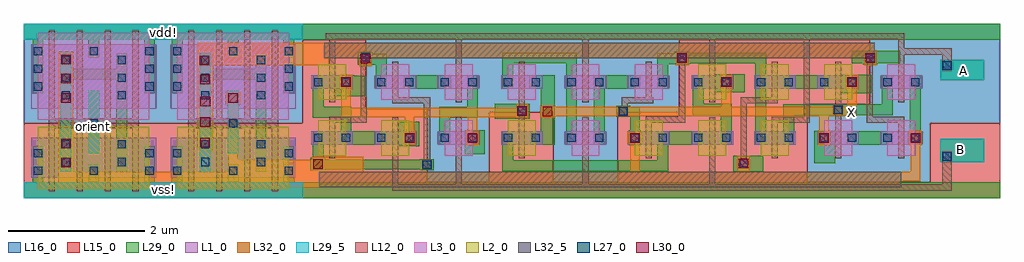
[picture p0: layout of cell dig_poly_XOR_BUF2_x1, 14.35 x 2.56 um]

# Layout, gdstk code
from math import pi, radians
import gdstk
lib = gdstk.Library(unit=1e-6, precision=1e-09)
def R(c, l, rs):  # rectangles x0, y0, x1, y1
    for r in rs: c.add(gdstk.rectangle(r[:2], r[2:], *l))
def A(c, l, x, y, w, h, nx, ny, dx, dy):  # array of equal rectangles
    R(c, l, [(x+i*dx, y+j*dy, x+i*dx+w, y+j*dy+h) for i in range(nx) for j in range(ny)])
L1_0 = (1, 0)
L2_0 = (2, 0)
L3_0 = (3, 0)
L12_0 = (12, 0)
L15_0 = (15, 0)
L16_0 = (16, 0)
L27_0 = (27, 0)
L29_0 = (29, 0)
L29_5 = (29, 5)
L30_0 = (30, 0)
L32_0 = (32, 0)
L32_5 = (32, 5)

nsoim_cdns_580773312510 = lib.new_cell('nsoim_CDNS_580773312510')
R(nsoim_cdns_580773312510, L1_0, [(-0.26,0.2,0,0.4), (0,0.2,0.09,0.4), (0.09,0.2,0.35,0.4)])
R(nsoim_cdns_580773312510, L2_0, [(-0.16,0.04,0.25,0.56)])
R(nsoim_cdns_580773312510, L12_0, [(0,0,0.09,0.09), (0,0.09,0.09,0.2), (0,0.2,0.09,0.4), (0,0.4,0.09,0.51), (0,0.51,0.09,0.6)])
R(nsoim_cdns_580773312510, L15_0, [(-0.32,-0.01,0.41,0.61)])
R(nsoim_cdns_580773312510, L27_0, [(-0.22,0.24,-0.1,0.36), (0.19,0.24,0.31,0.36)])
R(nsoim_cdns_580773312510, L29_0, [(-0.24,0.2,-0.08,0.4), (0.17,0.2,0.33,0.4)])

psoim_cdns_580773312511 = lib.new_cell('psoim_CDNS_580773312511')
R(psoim_cdns_580773312511, L1_0, [(-0.26,0.2,0,0.4), (0,0.2,0.09,0.4), (0.09,0.2,0.35,0.4)])
R(psoim_cdns_580773312511, L3_0, [(-0.16,0.04,0.25,0.56)])
R(psoim_cdns_580773312511, L12_0, [(0,0,0.09,0.09), (0,0.09,0.09,0.2), (0,0.2,0.09,0.4), (0,0.4,0.09,0.51), (0,0.51,0.09,0.6)])
R(psoim_cdns_580773312511, L16_0, [(-0.32,-0.01,0.41,0.61)])
R(psoim_cdns_580773312511, L27_0, [(-0.22,0.24,-0.1,0.36), (0.19,0.24,0.31,0.36)])
R(psoim_cdns_580773312511, L29_0, [(-0.24,0.2,-0.08,0.4), (0.17,0.2,0.33,0.4)])

m1_m2_cdns_580773312510 = lib.new_cell('M1_M2_CDNS_580773312510')
R(m1_m2_cdns_580773312510, L29_0, [(-0.11,-0.09,0.11,0.09)])
R(m1_m2_cdns_580773312510, L30_0, [(-0.07,-0.07,0.07,0.07)])
R(m1_m2_cdns_580773312510, L32_0, [(-0.09,-0.11,0.09,0.11)])

poly_m1_cdns_58077331251 = lib.new_cell('POLY_M1_CDNS_580773312511')
R(poly_m1_cdns_58077331251, L12_0, [(-0.07,-0.07,0.07,0.07)])
R(poly_m1_cdns_58077331251, L27_0, [(-0.06,-0.06,0.06,0.06)])
R(poly_m1_cdns_58077331251, L29_0, [(-0.1,-0.08,0.1,0.08)])

polymorphic_xor_buf2_1x = lib.new_cell('polymorphic_XOR_BUF2_1x')
R(polymorphic_xor_buf2_1x, L12_0, [(1.315,0.11,9.54,0.2), (9.4,0.2,9.54,0.54), (9.4,2.02,9.54,2.11), (8.845,2.11,9.13,2.2), (9.13,2.11,9.54,2.2)])
R(polymorphic_xor_buf2_1x, L15_0, [(0,0,9.225,0.23), (9.225,0,10.17,1.1), (1.245,0.06,3.685,0.23), (3.685,0.06,8.475,0.23), (4.63,0.09,8.47,0.23), (2.75,0.115,3.62,0.275), (1.175,0.13,1.545,0.32), (4.63,0.175,6.475,1.26), (0,0.23,0.925,2.33), (0.905,0.23,1.83,1.31), (2.74,0.23,2.75,0.235), (3.62,0.23,3.685,0.235), (6.475,0.23,7.415,2.33), (2.74,0.235,3.685,1.26), (5.535,1.26,6.48,2.33), (7.415,1.38,8.335,2.33)])
R(polymorphic_xor_buf2_1x, L16_0, [(1.83,0.23,2.74,1.39), (3.685,0.23,4.63,1.26), (7.415,0.23,8.42,1.38), (8.34,0.23,9.225,1.38), (9.225,1.1,10.17,2.56), (4.625,1.2,4.63,1.26), (2.74,1.26,5.535,2.385), (0.925,1.31,1.86,2.33), (1.815,1.345,2.74,1.485), (8.335,1.375,9.225,2.33), (1.83,1.395,2.74,2.33), (2.125,2.29,2.48,2.5), (0,2.33,9.165,2.48), (0,2.33,9.225,2.56)])
R(polymorphic_xor_buf2_1x, L29_0, [(0,0,10.17,0.23), (6.325,0.39,6.77,0.625), (6.33,0.4,6.72,0.615), (7.52,0.515,7.83,0.99), (9.37,0.53,10.015,0.87), (2.38,0.645,2.675,0.995), (7.53,0.66,7.79,0.985), (1.405,0.765,1.71,1.12), (2.82,1.165,3.335,1.385), (0.465,1.5,0.915,1.8), (7.905,1.54,8.355,1.81), (6.065,1.555,6.495,1.82), (0.51,1.56,0.755,1.805), (6.105,1.575,6.38,1.82), (9.37,1.735,10.02,2.03), (8.07,1.985,8.78,2.165), (8.135,1.985,8.67,2.165), (8.225,1.985,8.64,2.165), (0,2.33,10.17,2.56)])
R(polymorphic_xor_buf2_1x, L29_5, [(9.37,0.53,10.015,0.87), (9.37,1.735,10.02,2.03)])
R(polymorphic_xor_buf2_1x, L32_0, [(0.13,0.16,0.885,0.61), (0.24,0.16,7.525,0.39), (7.525,0.16,8.8,0.39), (0.315,2.055,7.6,2.285), (7.6,2.055,8.405,2.285)])
R(polymorphic_xor_buf2_1x, L32_5, [(0.24,0.16,8.8,0.39), (8.005,1.2,8.145,1.34), (0.315,2.055,8.405,2.285)])
polymorphic_xor_buf2_1x.add(gdstk.FlexPath([(8.595,1.705),(8.6,1.705)], 0.16, ends=(0.08, 0), simple_path=True, layer=29, datatype=0))  # L29_0
polymorphic_xor_buf2_1x.add(gdstk.FlexPath([(8.595,1.3),(8.595,1.705)], 0.16, ends="extended", simple_path=True, layer=29, datatype=0))  # L29_0
polymorphic_xor_buf2_1x.add(gdstk.FlexPath([(7.145,1.3),(8.595,1.3)], 0.16, ends="extended", simple_path=True, layer=29, datatype=0))  # L29_0
polymorphic_xor_buf2_1x.add(gdstk.FlexPath([(7.145,0.785),(7.145,1.3)], 0.16, ends=(0, 0.08), simple_path=True, layer=29, datatype=0))  # L29_0
polymorphic_xor_buf2_1x.add(gdstk.FlexPath([(9.005,0.885),(9,0.885)], 0.16, ends=(0.08, 0), simple_path=True, layer=29, datatype=0))  # L29_0
polymorphic_xor_buf2_1x.add(gdstk.FlexPath([(6.735,0.785),(6.735,1.705)], 0.16, ends="flush", simple_path=True, layer=29, datatype=0))  # L29_0
polymorphic_xor_buf2_1x.add(gdstk.FlexPath([(8.675,0.885),(8.075,0.885)], 0.2, ends="flush", simple_path=True, layer=29, datatype=0))  # L29_0
polymorphic_xor_buf2_1x.add(gdstk.FlexPath([(7.065,1.705),(7.665,1.705)], 0.2, ends="flush", simple_path=True, layer=29, datatype=0))  # L29_0
polymorphic_xor_buf2_1x.add(gdstk.FlexPath([(5.575,2.06),(5.575,2.07)], 0.16, ends="flush", simple_path=True, layer=29, datatype=0))  # L29_0
polymorphic_xor_buf2_1x.add(gdstk.FlexPath([(6.735,2.06),(5.575,2.06)], 0.16, ends="extended", simple_path=True, layer=29, datatype=0))  # L29_0
polymorphic_xor_buf2_1x.add(gdstk.FlexPath([(6.735,1.605),(6.735,2.06)], 0.16, ends=(0, 0.08), simple_path=True, layer=29, datatype=0))  # L29_0
polymorphic_xor_buf2_1x.add(gdstk.FlexPath([(5.29,2.05),(5.575,2.05)], 0.16, ends="extended", simple_path=True, layer=29, datatype=0))  # L29_0
polymorphic_xor_buf2_1x.add(gdstk.FlexPath([(4.88,0.885),(4.88,0.85)], 0.14, ends="flush", simple_path=True, layer=29, datatype=0))  # L29_0
polymorphic_xor_buf2_1x.add(gdstk.FlexPath([(4.88,1.275),(4.88,0.885)], 0.14, ends=(0.07, 0), simple_path=True, layer=29, datatype=0))  # L29_0
polymorphic_xor_buf2_1x.add(gdstk.FlexPath([(4.71,1.275),(4.88,1.275)], 0.14, ends=(0, 0.07), simple_path=True, layer=29, datatype=0))  # L29_0
polymorphic_xor_buf2_1x.add(gdstk.FlexPath([(5.815,1.705),(5.82,1.705)], 0.16, ends=(0.08, 0), simple_path=True, layer=29, datatype=0))  # L29_0
polymorphic_xor_buf2_1x.add(gdstk.FlexPath([(5.815,1.305),(5.815,1.705)], 0.16, ends="extended", simple_path=True, layer=29, datatype=0))  # L29_0
polymorphic_xor_buf2_1x.add(gdstk.FlexPath([(6.225,1.305),(5.815,1.305)], 0.16, ends="extended", simple_path=True, layer=29, datatype=0))  # L29_0
polymorphic_xor_buf2_1x.add(gdstk.FlexPath([(6.225,0.785),(6.225,1.305)], 0.16, ends=(0, 0.08), simple_path=True, layer=29, datatype=0))  # L29_0
polymorphic_xor_buf2_1x.add(gdstk.FlexPath([(5.29,0.885),(5.82,0.885)], 0.2, ends=(0.08, 0), simple_path=True, layer=29, datatype=0))  # L29_0
polymorphic_xor_buf2_1x.add(gdstk.FlexPath([(5.21,0.885),(5.29,0.885)], 0.2, ends=(0, 0.08), simple_path=True, layer=29, datatype=0))  # L29_0
polymorphic_xor_buf2_1x.add(gdstk.FlexPath([(5.29,0.885),(5.295,0.885)], 0.16, ends=(0.08, 0), simple_path=True, layer=29, datatype=0))  # L29_0
polymorphic_xor_buf2_1x.add(gdstk.FlexPath([(3.425,1.705),(3.425,1.7)], 0.2, ends=(0.1, 0), simple_path=True, layer=29, datatype=0))  # L29_0
polymorphic_xor_buf2_1x.add(gdstk.FlexPath([(3.6,1.705),(3.425,1.705)], 0.2, ends="extended", simple_path=True, layer=29, datatype=0))  # L29_0
polymorphic_xor_buf2_1x.add(gdstk.FlexPath([(3.6,1.27),(3.6,1.705)], 0.2, ends=(0.11, 0.1), simple_path=True, layer=29, datatype=0))  # L29_0
polymorphic_xor_buf2_1x.add(gdstk.FlexPath([(3.6,0.885),(3.6,1.27)], 0.2, ends=(0.1, 0.11), simple_path=True, layer=29, datatype=0))  # L29_0
polymorphic_xor_buf2_1x.add(gdstk.FlexPath([(3.345,0.885),(3.6,0.885)], 0.2, ends=(0, 0.1), simple_path=True, layer=29, datatype=0))  # L29_0
polymorphic_xor_buf2_1x.add(gdstk.FlexPath([(1.155,1.605),(1.155,2.04)], 0.16, ends=(0, 0.08), simple_path=True, layer=29, datatype=0))  # L29_0
polymorphic_xor_buf2_1x.add(gdstk.FlexPath([(0.9,2.04),(0.9,2.035)], 0.16, ends=(0.08, 0), simple_path=True, layer=29, datatype=0))  # L29_0
polymorphic_xor_buf2_1x.add(gdstk.FlexPath([(3.015,0.985),(3.015,0.475)], 0.16, ends=(0, 0.08), simple_path=True, layer=29, datatype=0))  # L29_0
polymorphic_xor_buf2_1x.add(gdstk.FlexPath([(5.29,0.475),(5.29,0.885)], 0.16, ends=(0.08, 0.1), simple_path=True, layer=29, datatype=0))  # L29_0
polymorphic_xor_buf2_1x.add(gdstk.FlexPath([(3.015,0.475),(5.29,0.475)], 0.16, ends="extended", simple_path=True, layer=29, datatype=0))  # L29_0
polymorphic_xor_buf2_1x.add(gdstk.FlexPath([(3.95,2.06),(3.015,2.06)], 0.16, ends="extended", simple_path=True, layer=29, datatype=0))  # L29_0
polymorphic_xor_buf2_1x.add(gdstk.FlexPath([(4.36,1.705),(4.88,1.705)], 0.2, ends=(0.08, 0), simple_path=True, layer=29, datatype=0))  # L29_0
polymorphic_xor_buf2_1x.add(gdstk.FlexPath([(4.36,1.805),(4.36,1.705)], 0.16, ends=(0, 0.1), simple_path=True, layer=29, datatype=0))  # L29_0
polymorphic_xor_buf2_1x.add(gdstk.FlexPath([(4.36,1.705),(4.36,0.885)], 0.16, ends=(0.1, 0), simple_path=True, layer=29, datatype=0))  # L29_0
polymorphic_xor_buf2_1x.add(gdstk.FlexPath([(3.95,0.785),(3.95,2.06)], 0.16, ends=(0, 0.08), simple_path=True, layer=29, datatype=0))  # L29_0
polymorphic_xor_buf2_1x.add(gdstk.FlexPath([(3.015,2.06),(3.015,1.68)], 0.16, ends=(0.08, 0), simple_path=True, layer=29, datatype=0))  # L29_0
polymorphic_xor_buf2_1x.add(gdstk.FlexPath([(4.28,1.705),(4.36,1.705)], 0.2, ends=(0, 0.08), simple_path=True, layer=29, datatype=0))  # L29_0
polymorphic_xor_buf2_1x.add(gdstk.FlexPath([(5.29,1.605),(5.29,2.05)], 0.16, ends=(0, 0.08), simple_path=True, layer=29, datatype=0))  # L29_0
polymorphic_xor_buf2_1x.add(gdstk.FlexPath([(5.575,2.05),(5.575,2.06)], 0.16, ends="extended", simple_path=True, layer=29, datatype=0))  # L29_0
polymorphic_xor_buf2_1x.add(gdstk.FlexPath([(0.22,0.49),(0.22,0.495)], 0.14, ends=(0.07, 0), simple_path=True, layer=29, datatype=0))  # L29_0
polymorphic_xor_buf2_1x.add(gdstk.FlexPath([(0.225,0.49),(0.22,0.49)], 0.14, ends=(0.08, 0.07), simple_path=True, layer=29, datatype=0))  # L29_0
polymorphic_xor_buf2_1x.add(gdstk.FlexPath([(1.825,0.49),(0.225,0.49)], 0.14, ends=(0, 0.08), simple_path=True, layer=29, datatype=0))  # L29_0
polymorphic_xor_buf2_1x.add(gdstk.FlexPath([(2.085,1.26),(2.085,0.88)], 0.16, ends=(0.08, 0), simple_path=True, layer=29, datatype=0))  # L29_0
polymorphic_xor_buf2_1x.add(gdstk.FlexPath([(2.495,1.26),(2.085,1.26)], 0.16, ends="extended", simple_path=True, layer=29, datatype=0))  # L29_0
polymorphic_xor_buf2_1x.add(gdstk.FlexPath([(2.495,1.805),(2.495,1.26)], 0.16, ends=(0, 0.08), simple_path=True, layer=29, datatype=0))  # L29_0
polymorphic_xor_buf2_1x.add(gdstk.FlexPath([(2.085,1.705),(2.085,1.685)], 0.2, ends=(0.1, 0), simple_path=True, layer=29, datatype=0))  # L29_0
polymorphic_xor_buf2_1x.add(gdstk.FlexPath([(1.485,1.705),(2.085,1.705)], 0.2, ends=(0, 0.1), simple_path=True, layer=29, datatype=0))  # L29_0
polymorphic_xor_buf2_1x.add(gdstk.FlexPath([(1.155,2.04),(0.9,2.04)], 0.16, ends="extended", simple_path=True, layer=29, datatype=0))  # L29_0
polymorphic_xor_buf2_1x.add(gdstk.FlexPath([(9.005,1.805),(9.005,0.885)], 0.16, ends=(0, 0.08), simple_path=True, layer=29, datatype=0))  # L29_0
polymorphic_xor_buf2_1x.add(gdstk.FlexPath([(0.635,0.885),(1.155,0.885)], 0.2, ends=(0.08, 0), simple_path=True, layer=29, datatype=0))  # L29_0
polymorphic_xor_buf2_1x.add(gdstk.FlexPath([(0.635,0.785),(0.635,0.885)], 0.16, ends=(0, 0.1), simple_path=True, layer=29, datatype=0))  # L29_0
polymorphic_xor_buf2_1x.add(gdstk.FlexPath([(0.555,0.885),(0.635,0.885)], 0.2, ends=(0, 0.08), simple_path=True, layer=29, datatype=0))  # L29_0
polymorphic_xor_buf2_1x.add(gdstk.FlexPath([(0.635,0.885),(0.635,1.26)], 0.16, ends=(0.1, 0.08), simple_path=True, layer=29, datatype=0))  # L29_0
polymorphic_xor_buf2_1x.add(gdstk.FlexPath([(0.635,1.26),(0.225,1.26)], 0.16, ends="extended", simple_path=True, layer=29, datatype=0))  # L29_0
polymorphic_xor_buf2_1x.add(gdstk.FlexPath([(0.225,1.26),(0.225,1.705)], 0.16, ends=(0.08, 0), simple_path=True, layer=29, datatype=0))  # L29_0
polymorphic_xor_buf2_1x.add(gdstk.FlexPath([(0.225,0.49),(0.235,0.49)], 0.16, ends=(0.08, 0), simple_path=True, layer=29, datatype=0))  # L29_0
polymorphic_xor_buf2_1x.add(gdstk.FlexPath([(0.225,0.985),(0.225,0.49)], 0.16, ends=(0, 0.07), simple_path=True, layer=29, datatype=0))  # L29_0
polymorphic_xor_buf2_1x.add(gdstk.FlexPath([(6.985,1.44),(6.48,1.44)], 0.09, ends=(0, 0.045), simple_path=True, layer=12, datatype=0))  # L12_0
polymorphic_xor_buf2_1x.add(gdstk.FlexPath([(8.335,2.075),(8.355,2.075)], 0.09, ends=(0.045, 0), simple_path=True, layer=12, datatype=0))  # L12_0
polymorphic_xor_buf2_1x.add(gdstk.FlexPath([(8.335,1.15),(8.335,2.075)], 0.09, ends="extended", simple_path=True, layer=12, datatype=0))  # L12_0
polymorphic_xor_buf2_1x.add(gdstk.FlexPath([(8.845,1.15),(8.335,1.15)], 0.09, ends=(0, 0.045), simple_path=True, layer=12, datatype=0))  # L12_0
polymorphic_xor_buf2_1x.add(gdstk.FlexPath([(6.48,1.44),(6.48,0.51)], 0.09, ends=(0.045, 0), simple_path=True, layer=12, datatype=0))  # L12_0
polymorphic_xor_buf2_1x.add(gdstk.FlexPath([(6.48,0.51),(6.47,0.51)], 0.09, ends="flush", simple_path=True, layer=12, datatype=0))  # L12_0
polymorphic_xor_buf2_1x.add(gdstk.FlexPath([(7.41,1.15),(7.41,2.075)], 0.09, ends=(0.045, 0), simple_path=True, layer=12, datatype=0))  # L12_0
polymorphic_xor_buf2_1x.add(gdstk.FlexPath([(6.895,1.15),(7.41,1.15)], 0.09, ends=(0, 0.045), simple_path=True, layer=12, datatype=0))  # L12_0
polymorphic_xor_buf2_1x.add(gdstk.FlexPath([(7.41,2.38),(0.385,2.38)], 0.09, ends="extended", simple_path=True, layer=12, datatype=0))  # L12_0
polymorphic_xor_buf2_1x.add(gdstk.FlexPath([(0.385,2.38),(0.385,2.365)], 0.09, ends=(0.045, 0), simple_path=True, layer=12, datatype=0))  # L12_0
polymorphic_xor_buf2_1x.add(gdstk.FlexPath([(8.8,2.38),(7.41,2.38)], 0.09, ends="extended", simple_path=True, layer=12, datatype=0))  # L12_0
polymorphic_xor_buf2_1x.add(gdstk.FlexPath([(8.8,1.915),(8.8,2.38)], 0.09, ends=(0, 0.045), simple_path=True, layer=12, datatype=0))  # L12_0
polymorphic_xor_buf2_1x.add(gdstk.FlexPath([(7.87,1.095),(7.87,1.3)], 0.09, ends="flush", simple_path=True, layer=12, datatype=0))  # L12_0
polymorphic_xor_buf2_1x.add(gdstk.FlexPath([(7.87,1.3),(7.87,1.495)], 0.09, ends="flush", simple_path=True, layer=12, datatype=0))  # L12_0
polymorphic_xor_buf2_1x.add(gdstk.FlexPath([(4.155,0.155),(4.155,0.15)], 0.09, ends=(0.045, 0), simple_path=True, layer=12, datatype=0))  # L12_0
polymorphic_xor_buf2_1x.add(gdstk.FlexPath([(6.02,0.155),(6.02,0.15)], 0.09, ends=(0.045, 0), simple_path=True, layer=12, datatype=0))  # L12_0
polymorphic_xor_buf2_1x.add(gdstk.FlexPath([(7.41,2.38),(7.41,2.075)], 0.09, ends=(0.045, 0), simple_path=True, layer=12, datatype=0))  # L12_0
polymorphic_xor_buf2_1x.add(gdstk.FlexPath([(6.02,0.675),(6.02,0.155)], 0.09, ends=(0, 0.045), simple_path=True, layer=12, datatype=0))  # L12_0
polymorphic_xor_buf2_1x.add(gdstk.FlexPath([(6.02,2.355),(5.975,2.355)], 0.09, ends=(0.045, 0), simple_path=True, layer=12, datatype=0))  # L12_0
polymorphic_xor_buf2_1x.add(gdstk.FlexPath([(6.02,1.915),(6.02,2.355)], 0.09, ends=(0, 0.045), simple_path=True, layer=12, datatype=0))  # L12_0
polymorphic_xor_buf2_1x.add(gdstk.FlexPath([(5.575,1.155),(5.575,2.035)], 0.09, ends=(0.045, 0), simple_path=True, layer=12, datatype=0))  # L12_0
polymorphic_xor_buf2_1x.add(gdstk.FlexPath([(5.04,1.155),(5.575,1.155)], 0.09, ends=(0, 0.045), simple_path=True, layer=12, datatype=0))  # L12_0
polymorphic_xor_buf2_1x.add(gdstk.FlexPath([(5.155,1.44),(4.735,1.44)], 0.09, ends=(0, 0.045), simple_path=True, layer=12, datatype=0))  # L12_0
polymorphic_xor_buf2_1x.add(gdstk.FlexPath([(4.735,1.44),(4.735,1.265)], 0.09, ends="extended", simple_path=True, layer=12, datatype=0))  # L12_0
polymorphic_xor_buf2_1x.add(gdstk.FlexPath([(4.735,1.265),(4.75,1.265)], 0.09, ends=(0.045, 0), simple_path=True, layer=12, datatype=0))  # L12_0
polymorphic_xor_buf2_1x.add(gdstk.FlexPath([(0.895,2.07),(0.925,2.07)], 0.09, ends=(0.045, 0), simple_path=True, layer=12, datatype=0))  # L12_0
polymorphic_xor_buf2_1x.add(gdstk.FlexPath([(4.155,2.34),(4.165,2.34)], 0.09, ends=(0.045, 0), simple_path=True, layer=12, datatype=0))  # L12_0
polymorphic_xor_buf2_1x.add(gdstk.FlexPath([(4.155,0.675),(4.155,0.155)], 0.09, ends=(0, 0.045), simple_path=True, layer=12, datatype=0))  # L12_0
polymorphic_xor_buf2_1x.add(gdstk.FlexPath([(4.155,1.915),(4.155,2.34)], 0.09, ends=(0, 0.045), simple_path=True, layer=12, datatype=0))  # L12_0
polymorphic_xor_buf2_1x.add(gdstk.FlexPath([(3.22,1.495),(3.22,1.28)], 0.09, ends="flush", simple_path=True, layer=12, datatype=0))  # L12_0
polymorphic_xor_buf2_1x.add(gdstk.FlexPath([(3.225,1.28),(3.23,1.28)], 0.09, ends="flush", simple_path=True, layer=12, datatype=0))  # L12_0
polymorphic_xor_buf2_1x.add(gdstk.FlexPath([(3.22,1.28),(3.225,1.28)], 0.09, ends=(0.045, 0), simple_path=True, layer=12, datatype=0))  # L12_0
polymorphic_xor_buf2_1x.add(gdstk.FlexPath([(3.22,1.095),(3.22,1.28)], 0.09, ends=(0, 0.045), simple_path=True, layer=12, datatype=0))  # L12_0
polymorphic_xor_buf2_1x.add(gdstk.FlexPath([(1.825,1.44),(1.825,0.49)], 0.09, ends=(0.045, 0), simple_path=True, layer=12, datatype=0))  # L12_0
polymorphic_xor_buf2_1x.add(gdstk.FlexPath([(1.315,1.44),(1.825,1.44)], 0.09, ends=(0, 0.045), simple_path=True, layer=12, datatype=0))  # L12_0
polymorphic_xor_buf2_1x.add(gdstk.FlexPath([(2.29,0.675),(2.29,0.155)], 0.09, ends=(0, 0.045), simple_path=True, layer=12, datatype=0))  # L12_0
polymorphic_xor_buf2_1x.add(gdstk.FlexPath([(2.29,2.335),(2.325,2.335)], 0.09, ends=(0.045, 0), simple_path=True, layer=12, datatype=0))  # L12_0
polymorphic_xor_buf2_1x.add(gdstk.FlexPath([(2.29,1.915),(2.29,2.335)], 0.09, ends=(0, 0.045), simple_path=True, layer=12, datatype=0))  # L12_0
polymorphic_xor_buf2_1x.add(gdstk.FlexPath([(0.895,1.15),(0.895,2.07)], 0.09, ends="extended", simple_path=True, layer=12, datatype=0))  # L12_0
polymorphic_xor_buf2_1x.add(gdstk.FlexPath([(0.385,1.15),(0.895,1.15)], 0.09, ends=(0, 0.045), simple_path=True, layer=12, datatype=0))  # L12_0
polymorphic_xor_buf2_1x.add(gdstk.FlexPath([(1.825,0.49),(1.83,0.49)], 0.09, ends="flush", simple_path=True, layer=12, datatype=0))  # L12_0
polymorphic_xor_buf2_1x.add(gdstk.FlexPath([(1.36,0.675),(1.36,0.155)], 0.09, ends=(0, 0.045), simple_path=True, layer=12, datatype=0))  # L12_0
polymorphic_xor_buf2_1x.add(gdstk.FlexPath([(0.43,2.31),(0.42,2.31)], 0.09, ends=(0.045, 0), simple_path=True, layer=12, datatype=0))  # L12_0
polymorphic_xor_buf2_1x.add(gdstk.FlexPath([(0.43,1.915),(0.43,2.31)], 0.09, ends=(0, 0.045), simple_path=True, layer=12, datatype=0))  # L12_0
polymorphic_xor_buf2_1x.add(gdstk.FlexPath([(6.48,0.51),(6.48,0.315)], 0.14, ends=(0, 0.07), simple_path=True, layer=32, datatype=0))  # L32_0
polymorphic_xor_buf2_1x.add(gdstk.FlexPath([(8.075,1.27),(7.665,1.27)], 0.14, ends=(0.07, 0), simple_path=True, layer=32, datatype=0))  # L32_0
polymorphic_xor_buf2_1x.add(gdstk.FlexPath([(8.075,1.705),(8.075,1.27)], 0.14, ends=(0, 0.07), simple_path=True, layer=32, datatype=0))  # L32_0
polymorphic_xor_buf2_1x.add(gdstk.FlexPath([(6.185,1.27),(6.225,1.27)], 0.14, ends="extended", simple_path=True, layer=32, datatype=0))  # L32_0
polymorphic_xor_buf2_1x.add(gdstk.FlexPath([(7.665,1.27),(6.225,1.27)], 0.14, ends="extended", simple_path=True, layer=32, datatype=0))  # L32_0
polymorphic_xor_buf2_1x.add(gdstk.FlexPath([(6.185,1.27),(6.185,1.26)], 0.14, ends=(0.07, 0), simple_path=True, layer=32, datatype=0))  # L32_0
polymorphic_xor_buf2_1x.add(gdstk.FlexPath([(7.665,0.885),(7.665,1.27)], 0.14, ends=(0, 0.07), simple_path=True, layer=32, datatype=0))  # L32_0
polymorphic_xor_buf2_1x.add(gdstk.FlexPath([(6.48,0.315),(6.465,0.315)], 0.14, ends=(0.07, 0), simple_path=True, layer=32, datatype=0))  # L32_0
polymorphic_xor_buf2_1x.add(gdstk.FlexPath([(9.005,0.885),(9.005,0.32)], 0.14, ends=(0, 0.07), simple_path=True, layer=32, datatype=0))  # L32_0
polymorphic_xor_buf2_1x.add(gdstk.FlexPath([(9.005,0.32),(8.8,0.32)], 0.14, ends="extended", simple_path=True, layer=32, datatype=0))  # L32_0
polymorphic_xor_buf2_1x.add(gdstk.FlexPath([(8.8,0.32),(8.8,0.325)], 0.14, ends=(0.07, 0), simple_path=True, layer=32, datatype=0))  # L32_0
polymorphic_xor_buf2_1x.add(gdstk.FlexPath([(5.325,1.27),(6.185,1.27)], 0.14, ends="extended", simple_path=True, layer=32, datatype=0))  # L32_0
polymorphic_xor_buf2_1x.add(gdstk.FlexPath([(5.185,1.27),(5.255,1.27)], 0.14, ends="extended", simple_path=True, layer=32, datatype=0))  # L32_0
polymorphic_xor_buf2_1x.add(gdstk.FlexPath([(5.185,1.27),(5.185,1.275)], 0.14, ends=(0.07, 0), simple_path=True, layer=32, datatype=0))  # L32_0
polymorphic_xor_buf2_1x.add(gdstk.FlexPath([(5.255,1.27),(5.325,1.27)], 0.14, ends="extended", simple_path=True, layer=32, datatype=0))  # L32_0
polymorphic_xor_buf2_1x.add(gdstk.FlexPath([(5.255,1.27),(5.255,1.28)], 0.14, ends=(0.07, 0), simple_path=True, layer=32, datatype=0))  # L32_0
polymorphic_xor_buf2_1x.add(gdstk.FlexPath([(4.88,0.885),(4.88,0.145)], 0.14, ends="flush", simple_path=True, layer=32, datatype=0))  # L32_0
polymorphic_xor_buf2_1x.add(gdstk.FlexPath([(5.325,1.27),(5.325,1.235)], 0.14, ends=(0.07, 0), simple_path=True, layer=32, datatype=0))  # L32_0
polymorphic_xor_buf2_1x.add(gdstk.FlexPath([(3.6,1.27),(5.185,1.27)], 0.14, ends=(0, 0.07), simple_path=True, layer=32, datatype=0))  # L32_0
polymorphic_xor_buf2_1x.add(gdstk.FlexPath([(6.225,1.705),(6.225,1.27)], 0.14, ends=(0, 0.07), simple_path=True, layer=32, datatype=0))  # L32_0
polymorphic_xor_buf2_1x.add(gdstk.FlexPath([(3.225,1.26),(2.495,1.26)], 0.14, ends="extended", simple_path=True, layer=32, datatype=0))  # L32_0
polymorphic_xor_buf2_1x.add(gdstk.FlexPath([(2.495,0.885),(2.495,1.26)], 0.14, ends=(0, 0.07), simple_path=True, layer=32, datatype=0))  # L32_0
polymorphic_xor_buf2_1x.add(gdstk.FlexPath([(1.565,1.26),(2.495,1.26)], 0.14, ends="extended", simple_path=True, layer=32, datatype=0))  # L32_0
polymorphic_xor_buf2_1x.add(gdstk.FlexPath([(1.565,0.885),(1.565,1.26)], 0.14, ends=(0, 0.07), simple_path=True, layer=32, datatype=0))  # L32_0
polymorphic_xor_buf2_1x.add(gdstk.FlexPath([(0.635,1.26),(1.565,1.26)], 0.14, ends="extended", simple_path=True, layer=32, datatype=0))  # L32_0
polymorphic_xor_buf2_1x.add(gdstk.FlexPath([(3.225,1.28),(3.225,1.26)], 0.14, ends=(0, 0.07), simple_path=True, layer=32, datatype=0))  # L32_0
polymorphic_xor_buf2_1x.add(gdstk.FlexPath([(0.635,1.705),(0.635,1.26)], 0.14, ends=(0, 0.07), simple_path=True, layer=32, datatype=0))  # L32_0
polymorphic_xor_buf2_1x.add(gdstk.Reference(nsoim_cdns_580773312510, (6.895,1.405)))
polymorphic_xor_buf2_1x.add(gdstk.Reference(nsoim_cdns_580773312510, (6.895,0.585)))
polymorphic_xor_buf2_1x.add(gdstk.Reference(nsoim_cdns_580773312510, (7.825,1.405)))
polymorphic_xor_buf2_1x.add(gdstk.Reference(nsoim_cdns_580773312510, (5.975,1.405)))
polymorphic_xor_buf2_1x.add(gdstk.Reference(nsoim_cdns_580773312510, (5.975,0.585)))
polymorphic_xor_buf2_1x.add(gdstk.Reference(nsoim_cdns_580773312510, (5.04,0.585)))
polymorphic_xor_buf2_1x.add(gdstk.Reference(nsoim_cdns_580773312510, (3.175,0.585)))
polymorphic_xor_buf2_1x.add(gdstk.Reference(nsoim_cdns_580773312510, (0.385,0.585)))
polymorphic_xor_buf2_1x.add(gdstk.Reference(nsoim_cdns_580773312510, (1.315,0.585)))
polymorphic_xor_buf2_1x.add(gdstk.Reference(nsoim_cdns_580773312510, (0.385,1.405)))
polymorphic_xor_buf2_1x.add(gdstk.Reference(psoim_cdns_580773312511, (7.825,0.585)))
polymorphic_xor_buf2_1x.add(gdstk.Reference(psoim_cdns_580773312511, (8.755,0.585)))
polymorphic_xor_buf2_1x.add(gdstk.Reference(psoim_cdns_580773312511, (8.755,1.405)))
polymorphic_xor_buf2_1x.add(gdstk.Reference(psoim_cdns_580773312511, (4.11,1.405)))
polymorphic_xor_buf2_1x.add(gdstk.Reference(psoim_cdns_580773312511, (4.11,0.585)))
polymorphic_xor_buf2_1x.add(gdstk.Reference(psoim_cdns_580773312511, (5.04,1.405)))
polymorphic_xor_buf2_1x.add(gdstk.Reference(psoim_cdns_580773312511, (3.265,1.405), rotation=pi, x_reflection=True))
polymorphic_xor_buf2_1x.add(gdstk.Reference(psoim_cdns_580773312511, (2.335,1.405), rotation=pi, x_reflection=True))
polymorphic_xor_buf2_1x.add(gdstk.Reference(psoim_cdns_580773312511, (2.245,0.585)))
polymorphic_xor_buf2_1x.add(gdstk.Reference(psoim_cdns_580773312511, (1.405,1.405), rotation=pi, x_reflection=True))
polymorphic_xor_buf2_1x.add(gdstk.Reference(m1_m2_cdns_580773312510, (8.345,2.06)))
polymorphic_xor_buf2_1x.add(gdstk.Reference(m1_m2_cdns_580773312510, (6.48,0.51)))
polymorphic_xor_buf2_1x.add(gdstk.Reference(m1_m2_cdns_580773312510, (8.075,1.705)))
polymorphic_xor_buf2_1x.add(gdstk.Reference(m1_m2_cdns_580773312510, (7.665,0.885)))
polymorphic_xor_buf2_1x.add(gdstk.Reference(m1_m2_cdns_580773312510, (9.005,0.885)))
polymorphic_xor_buf2_1x.add(gdstk.Reference(m1_m2_cdns_580773312510, (6.225,1.705)))
polymorphic_xor_buf2_1x.add(gdstk.Reference(m1_m2_cdns_580773312510, (4.88,0.885), rotation=pi/2))
polymorphic_xor_buf2_1x.add(gdstk.Reference(m1_m2_cdns_580773312510, (3.6,1.27), rotation=pi/2))
polymorphic_xor_buf2_1x.add(gdstk.Reference(m1_m2_cdns_580773312510, (5.575,2.06)))
polymorphic_xor_buf2_1x.add(gdstk.Reference(m1_m2_cdns_580773312510, (3.225,1.28)))
polymorphic_xor_buf2_1x.add(gdstk.Reference(m1_m2_cdns_580773312510, (2.495,0.885)))
polymorphic_xor_buf2_1x.add(gdstk.Reference(m1_m2_cdns_580773312510, (0.92,2.05)))
polymorphic_xor_buf2_1x.add(gdstk.Reference(m1_m2_cdns_580773312510, (1.565,0.885)))
polymorphic_xor_buf2_1x.add(gdstk.Reference(m1_m2_cdns_580773312510, (0.22,0.5)))
polymorphic_xor_buf2_1x.add(gdstk.Reference(m1_m2_cdns_580773312510, (0.635,1.705)))
polymorphic_xor_buf2_1x.add(gdstk.Reference(poly_m1_cdns_58077331251, (8.345,2.06)))
polymorphic_xor_buf2_1x.add(gdstk.Reference(poly_m1_cdns_58077331251, (6.48,0.51)))
polymorphic_xor_buf2_1x.add(gdstk.Reference(poly_m1_cdns_58077331251, (7.87,1.3)))
polymorphic_xor_buf2_1x.add(gdstk.Reference(poly_m1_cdns_58077331251, (9.47,1.95)))
polymorphic_xor_buf2_1x.add(gdstk.Reference(poly_m1_cdns_58077331251, (9.47,0.61)))
polymorphic_xor_buf2_1x.add(gdstk.Reference(poly_m1_cdns_58077331251, (5.575,2.06)))
polymorphic_xor_buf2_1x.add(gdstk.Reference(poly_m1_cdns_58077331251, (4.71,1.275)))
polymorphic_xor_buf2_1x.add(gdstk.Reference(poly_m1_cdns_58077331251, (3.225,1.28)))
polymorphic_xor_buf2_1x.add(gdstk.Reference(poly_m1_cdns_58077331251, (1.825,0.49)))
polymorphic_xor_buf2_1x.add(gdstk.Reference(poly_m1_cdns_58077331251, (0.92,2.07)))
polymorphic_xor_buf2_1x.add(gdstk.Label('Vx', (5.745,2.185), layer=32, texttype=6))
polymorphic_xor_buf2_1x.add(gdstk.Label('X', (7.95,1.275), layer=32, texttype=6))
polymorphic_xor_buf2_1x.add(gdstk.Label('Vy', (4.295,0.26), layer=32, texttype=6))
polymorphic_xor_buf2_1x.add(gdstk.Label('A', (9.705,1.875), layer=29, texttype=6))
polymorphic_xor_buf2_1x.add(gdstk.Label('B', (9.69,0.72), layer=29, texttype=6))

nsoim_cdns_580773312512 = lib.new_cell('nsoim_CDNS_580773312512')
R(nsoim_cdns_580773312512, L1_0, [(-0.095,0.2,0,0.79), (0,0.2,0.09,0.79), (0.09,0.2,0.185,0.79)])
R(nsoim_cdns_580773312512, L2_0, [(-0.16,0.04,0.25,0.95)])
R(nsoim_cdns_580773312512, L12_0, [(0,0,0.09,0.09), (0,0.09,0.09,0.2), (0,0.2,0.09,0.79), (0,0.79,0.09,0.9), (0,0.9,0.09,0.99)])
R(nsoim_cdns_580773312512, L15_0, [(-0.155,-0.01,0.245,1)])

stdcell_template_cdns_58 = lib.new_cell('stdcell_template_CDNS_580773312513')
R(stdcell_template_cdns_58, L15_0, [(0,0,2.05,1.1)])
R(stdcell_template_cdns_58, L16_0, [(0,1.1,2.05,2.56)])
R(stdcell_template_cdns_58, L29_0, [(0,0,2.05,0.23), (0,2.33,2.05,2.56)])
R(stdcell_template_cdns_58, L29_5, [(0,0,2.05,0.23), (0,2.33,2.05,2.56)])
stdcell_template_cdns_58.add(gdstk.Label('vss!', (1.025,0.115), layer=29, texttype=5))
stdcell_template_cdns_58.add(gdstk.Label('vdd!', (1.025,2.445), layer=29, texttype=5))

psoim_cdns_580773312514 = lib.new_cell('psoim_CDNS_580773312514')
R(psoim_cdns_580773312514, L1_0, [(-0.095,0.2,0,1.15), (0,0.2,0.09,1.15), (0.09,0.2,0.185,1.15)])
R(psoim_cdns_580773312514, L3_0, [(-0.16,0.04,0.25,1.31)])
R(psoim_cdns_580773312514, L12_0, [(0,0,0.09,0.09), (0,0.09,0.09,0.2), (0,0.2,0.09,1.15), (0,1.15,0.09,1.26), (0,1.26,0.09,1.35)])
R(psoim_cdns_580773312514, L16_0, [(-0.155,-0.01,0.245,1.36)])

c_poly_m1_cdns_58077331251 = lib.new_cell('POLY_M1_CDNS_580773312512')
R(c_poly_m1_cdns_58077331251, L12_0, [(-0.07,-0.07,0.07,0.07)])
R(c_poly_m1_cdns_58077331251, L27_0, [(-0.06,-0.06,0.06,0.06)])
R(c_poly_m1_cdns_58077331251, L29_0, [(-0.08,-0.1,0.08,0.1)])

act_m1_cdns_580773312513 = lib.new_cell('ACT_M1_CDNS_580773312513')
R(act_m1_cdns_580773312513, L1_0, [(-0.1,-0.1,0.1,0.1)])
R(act_m1_cdns_580773312513, L27_0, [(-0.06,-0.06,0.06,0.06)])
R(act_m1_cdns_580773312513, L29_0, [(-0.08,-0.1,0.08,0.1)])

act_m1_cdns_580773312514 = lib.new_cell('ACT_M1_CDNS_580773312514')
R(act_m1_cdns_580773312514, L1_0, [(-0.1,-0.23,0.1,0.23)])
R(act_m1_cdns_580773312514, L27_0, [(-0.06,-0.19,0.06,-0.07), (-0.06,0.07,0.06,0.19)])
R(act_m1_cdns_580773312514, L29_0, [(-0.08,-0.23,0.08,0.23)])

act_m1_cdns_580773312515 = lib.new_cell('ACT_M1_CDNS_580773312515')
R(act_m1_cdns_580773312515, L1_0, [(-0.1,-0.36,0.1,0.36)])
A(act_m1_cdns_580773312515, L27_0, -0.06, -0.32, 0.12, 0.12, 1, 3, 0, 0.26)
R(act_m1_cdns_580773312515, L29_0, [(-0.08,-0.36,0.08,0.36)])

inv_4x = lib.new_cell('inv_4x')
R(inv_4x, L1_0, [(0.105,0.3,1.945,0.89), (0.105,1.31,1.945,2.26)])
R(inv_4x, L12_0, [(0.365,0.1,0.455,2.46), (0.775,0.1,0.865,2.46), (0.365,1.03,1.685,1.17)])
A(inv_4x, L29_0, 0.125, 0.23, 0.16, 0.27, 3, 2, 0.82, 1.83)
R(inv_4x, L29_0, [(0.535,1.74,1.515,1.9)])
R(inv_4x, L29_5, [(0,0,2.05,0.23), (0.535,0.39,0.695,2.13), (0.945,0.66,1.105,1.58), (0,2.33,2.05,2.56)])
inv_4x.add(gdstk.FlexPath([(1.435,2.13),(1.435,0.39)], 0.16, ends="flush", simple_path=True, layer=29, datatype=0))  # L29_0
inv_4x.add(gdstk.FlexPath([(1.025,1.58),(1.025,0.66)], 0.16, ends="flush", simple_path=True, layer=29, datatype=0))  # L29_0
inv_4x.add(gdstk.FlexPath([(0.615,2.13),(0.615,0.39)], 0.16, ends="flush", simple_path=True, layer=29, datatype=0))  # L29_0
inv_4x.add(gdstk.Reference(nsoim_cdns_580773312512, (1.595,0.1)))
inv_4x.add(gdstk.Reference(nsoim_cdns_580773312512, (1.185,0.1)))
inv_4x.add(gdstk.Reference(nsoim_cdns_580773312512, (0.775,0.1)))
inv_4x.add(gdstk.Reference(nsoim_cdns_580773312512, (0.365,0.1)))
inv_4x.add(gdstk.Reference(stdcell_template_cdns_58, (0,0)))
inv_4x.add(gdstk.Reference(psoim_cdns_580773312514, (1.595,1.11)))
inv_4x.add(gdstk.Reference(psoim_cdns_580773312514, (1.185,1.11)))
inv_4x.add(gdstk.Reference(psoim_cdns_580773312514, (0.775,1.11)))
inv_4x.add(gdstk.Reference(psoim_cdns_580773312514, (0.365,1.11)))
inv_4x.add(gdstk.Reference(c_poly_m1_cdns_58077331251, (1.025,1.1)))
inv_4x.add(gdstk.Reference(act_m1_cdns_580773312513, (1.025,0.4)))
inv_4x.add(gdstk.Reference(act_m1_cdns_580773312513, (1.025,2.16)))
inv_4x.add(gdstk.Reference(act_m1_cdns_580773312514, (1.845,0.53)))
inv_4x.add(gdstk.Reference(act_m1_cdns_580773312514, (1.435,0.66)))
inv_4x.add(gdstk.Reference(act_m1_cdns_580773312514, (0.205,0.53)))
inv_4x.add(gdstk.Reference(act_m1_cdns_580773312514, (0.615,0.66)))
inv_4x.add(gdstk.Reference(act_m1_cdns_580773312515, (1.845,1.9)))
inv_4x.add(gdstk.Reference(act_m1_cdns_580773312515, (1.435,1.77)))
inv_4x.add(gdstk.Reference(act_m1_cdns_580773312515, (0.615,1.77)))
inv_4x.add(gdstk.Reference(act_m1_cdns_580773312515, (0.205,1.9)))
inv_4x.add(gdstk.Label('vss!', (0.385,0.115), layer=29, texttype=6))
inv_4x.add(gdstk.Label('vdd!', (0.385,2.445), layer=29, texttype=6))
inv_4x.add(gdstk.Label('A', (1.025,1.315), layer=29, texttype=6))
inv_4x.add(gdstk.Label('X', (0.615,1.31), layer=29, texttype=6))

dig_poly_xor_buf2_x1 = lib.new_cell('dig_poly_XOR_BUF2_x1')
R(dig_poly_xor_buf2_x1, L15_0, [(4.1,0,4.125,2.33), (14.27,0,14.35,1.1)])
R(dig_poly_xor_buf2_x1, L16_0, [(14.27,1.1,14.35,2.56), (4.1,2.33,4.13,2.56)])
R(dig_poly_xor_buf2_x1, L29_0, [(13.325,0,14.35,0.23), (0.505,0.61,0.725,1.67), (2.77,0.725,2.775,0.905), (2.55,0.905,2.775,1.205), (2.55,0.905,2.77,1.205), (2.55,1.205,2.775,1.91), (0.505,1.85,0.725,1.855), (0.505,1.855,0.725,1.95), (2.55,1.91,2.775,2.13), (13.325,2.33,14.35,2.56)])
R(dig_poly_xor_buf2_x1, L29_5, [(0,0,4.1,0.23), (13.47,0.53,14.115,0.87), (0.945,0.66,1.105,1.58), (13.47,1.735,14.12,2.03), (0,2.33,4.1,2.56)])
R(dig_poly_xor_buf2_x1, L32_0, [(0.5,0.155,4.335,0.39), (3.005,0.16,4.23,0.565), (4.305,0.305,4.34,0.39), (0.525,0.355,0.705,0.41), (10.49,0.36,10.67,0.4), (0.505,0.385,0.725,2.15), (2.55,0.705,2.78,1.95), (2.545,1.98,4.42,2.285), (4.345,2.25,4.445,2.285)])
R(dig_poly_xor_buf2_x1, L32_5, [(12.105,1.2,12.245,1.34)])
dig_poly_xor_buf2_x1.add(gdstk.FlexPath([(2.66,2.02),(4.415,2.02)], 0.14, ends="extended", simple_path=True, layer=32, datatype=0))  # L32_0
dig_poly_xor_buf2_x1.add(gdstk.FlexPath([(2.66,2.03),(2.67,2.03)], 0.14, ends=(0.07, 0), simple_path=True, layer=32, datatype=0))  # L32_0
dig_poly_xor_buf2_x1.add(gdstk.FlexPath([(2.66,2.02),(2.66,2.03)], 0.14, ends="extended", simple_path=True, layer=32, datatype=0))  # L32_0
dig_poly_xor_buf2_x1.add(gdstk.FlexPath([(2.66,1.745),(2.66,2.02)], 0.14, ends=(0, 0.07), simple_path=True, layer=32, datatype=0))  # L32_0
dig_poly_xor_buf2_x1.add(gdstk.FlexPath([(2.66,0.815),(2.66,1.745)], 0.14, ends="flush", simple_path=True, layer=32, datatype=0))  # L32_0
dig_poly_xor_buf2_x1.add(gdstk.FlexPath([(3.075,0.28),(3.095,0.28)], 0.14, ends=(0.07, 0), simple_path=True, layer=32, datatype=0))  # L32_0
dig_poly_xor_buf2_x1.add(gdstk.FlexPath([(3.075,1.47),(3.075,0.28)], 0.14, ends=(0, 0.07), simple_path=True, layer=32, datatype=0))  # L32_0
dig_poly_xor_buf2_x1.add(gdstk.FlexPath([(0.615,0.285),(0.605,0.285)], 0.14, ends=(0.07, 0), simple_path=True, layer=32, datatype=0))  # L32_0
dig_poly_xor_buf2_x1.add(gdstk.FlexPath([(0.615,1.47),(0.615,0.8)], 0.14, ends="flush", simple_path=True, layer=32, datatype=0))  # L32_0
dig_poly_xor_buf2_x1.add(gdstk.FlexPath([(0.615,2.04),(0.615,1.47)], 0.14, ends="flush", simple_path=True, layer=32, datatype=0))  # L32_0
dig_poly_xor_buf2_x1.add(gdstk.FlexPath([(2.655,2.02),(2.66,2.02)], 0.14, ends=(0, 0.07), simple_path=True, layer=32, datatype=0))  # L32_0
dig_poly_xor_buf2_x1.add(gdstk.FlexPath([(0.615,0.8),(0.615,0.52)], 0.14, ends="flush", simple_path=True, layer=32, datatype=0))  # L32_0
dig_poly_xor_buf2_x1.add(gdstk.FlexPath([(4.415,2.02),(4.415,2.2)], 0.14, ends="extended", simple_path=True, layer=32, datatype=0))  # L32_0
dig_poly_xor_buf2_x1.add(gdstk.FlexPath([(4.415,2.2),(4.41,2.2)], 0.14, ends=(0.07, 0), simple_path=True, layer=32, datatype=0))  # L32_0
dig_poly_xor_buf2_x1.add(gdstk.FlexPath([(0.615,0.52),(0.615,0.285)], 0.14, ends=(0, 0.07), simple_path=True, layer=32, datatype=0))  # L32_0
dig_poly_xor_buf2_x1.add(gdstk.Reference(polymorphic_xor_buf2_1x, (4.1,0)))
dig_poly_xor_buf2_x1.add(gdstk.Reference(inv_4x, (2.05,0)))
dig_poly_xor_buf2_x1.add(gdstk.Reference(inv_4x, (0,0)))
dig_poly_xor_buf2_x1.add(gdstk.Reference(m1_m2_cdns_580773312510, (2.665,1.115)))
dig_poly_xor_buf2_x1.add(gdstk.Reference(m1_m2_cdns_580773312510, (2.66,0.815)))
dig_poly_xor_buf2_x1.add(gdstk.Reference(m1_m2_cdns_580773312510, (2.665,1.42)))
dig_poly_xor_buf2_x1.add(gdstk.Reference(m1_m2_cdns_580773312510, (0.615,0.52)))
dig_poly_xor_buf2_x1.add(gdstk.Reference(m1_m2_cdns_580773312510, (0.615,0.8)))
dig_poly_xor_buf2_x1.add(gdstk.Reference(m1_m2_cdns_580773312510, (2.66,1.745)))
dig_poly_xor_buf2_x1.add(gdstk.Reference(m1_m2_cdns_580773312510, (0.615,2.04)))
dig_poly_xor_buf2_x1.add(gdstk.Reference(m1_m2_cdns_580773312510, (0.615,1.76)))
dig_poly_xor_buf2_x1.add(gdstk.Reference(m1_m2_cdns_580773312510, (2.655,2.025), rotation=pi/2))
dig_poly_xor_buf2_x1.add(gdstk.Reference(m1_m2_cdns_580773312510, (0.615,1.47), rotation=pi/2))
dig_poly_xor_buf2_x1.add(gdstk.Reference(m1_m2_cdns_580773312510, (3.075,1.47), rotation=pi/2))
dig_poly_xor_buf2_x1.add(gdstk.Label('vss!', (2.055,0.125), layer=29, texttype=6))
dig_poly_xor_buf2_x1.add(gdstk.Label('vdd!', (2.055,2.435), layer=29, texttype=6))
dig_poly_xor_buf2_x1.add(gdstk.Label('B', (13.775,0.72), layer=29, texttype=6))
dig_poly_xor_buf2_x1.add(gdstk.Label('A', (13.81,1.87), layer=29, texttype=6))
dig_poly_xor_buf2_x1.add(gdstk.Label('orient', (1.02,1.045), layer=29, texttype=6))
dig_poly_xor_buf2_x1.add(gdstk.Label('X', (12.17,1.255), layer=32, texttype=6))

lib.write_gds('dig_poly_XOR_BUF2_x1.gds')
